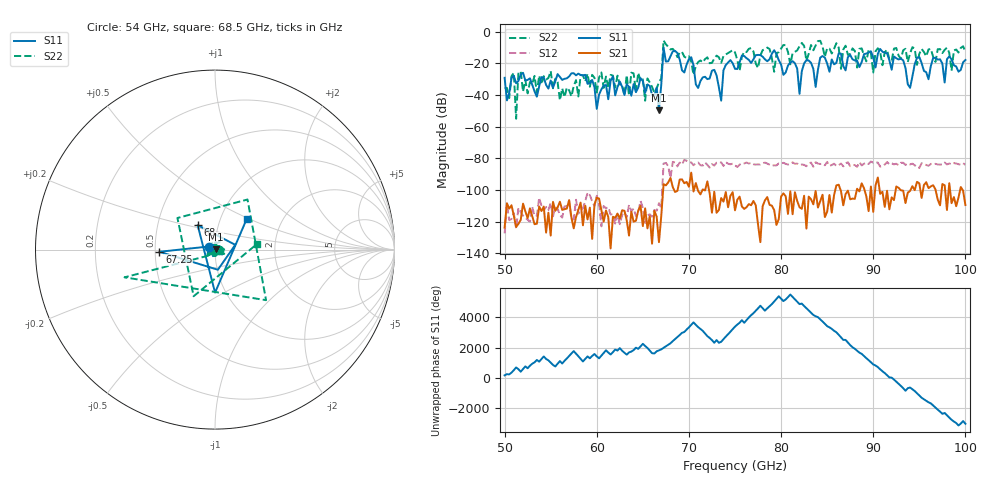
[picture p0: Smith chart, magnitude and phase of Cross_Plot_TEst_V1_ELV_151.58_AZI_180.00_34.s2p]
! 11/25/2026 1:31:15 PM
! C:\ANRITSUVNA\TEMP\TEMP.S2P
! CHANNEL.1
! TR.MEASUREMENT
! RAW.DATA
# HZ S RI R 50.0
! FREQ.HZ  S11RE  S11IM  S21RE  S21IM  S12RE  S12IM  S22RE  S22IM
!; PortSelection: Port_12
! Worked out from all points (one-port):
!   201 points, 50 GHz to 100 GHz, reference 50 ohm
!   lowest |S11| = -49.7 dB at 66.75 GHz (marker M1), VSWR 1.01, Z = 50.3 + j0.0729 ohm
!   |S11| at or under -10 dB: start of sweep to end of sweep
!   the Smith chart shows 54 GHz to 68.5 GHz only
!   S11 on the Smith chart (normalised r, x): 54 GHz: 0.93, +0.03; 67.25 GHz: 0.53, -0.01; 68 GHz: 0.80, +0.22; 68.5 GHz: 1.33, +0.49
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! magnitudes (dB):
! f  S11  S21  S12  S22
! 50 GHz  -29.1  -123.9  -127.4  -35.6
! 51 GHz  -27.9  -116.3  -114.7  -26.0
! 51.25 GHz  -32.6  -123.5  -124.3  -55.1
! 51.5 GHz  -31.2  -121.4  -111.3  -25.7
! 54 GHz  -28.7  -113.4  -110.0  -33.3
! 58.5 GHz  -27.7  -122.4  -111.6  -27.6
! 60 GHz  -48.8  -104.9  -103.7  -38.5
! 61.75 GHz  -28.4  -117.0  -115.3  -27.7
! 66.75 GHz  -49.7  -133.0  -108.4  -31.9
! 67.25 GHz  -10.2  -96.4  -83.4  -5.6
! 68 GHz  -15.5  -92.4  -92.4  -11.3
! 68.5 GHz  -12.1  -101.3  -82.6  -12.6
! 73.5 GHz  -43.6  -105.2  -82.7  -19.7
! 73.75 GHz  -24.4  -107.4  -84.9  -15.4
! 75 GHz  -23.5  -112.9  -84.5  -13.0
! 79.25 GHz  -11.8  -112.7  -84.5  -25.4
! 82 GHz  -39.3  -111.0  -84.3  -9.2
! 83.5 GHz  -23.5  -109.1  -85.4  -11.8
! 91.75 GHz  -18.1  -112.3  -83.8  -17.6
! 94 GHz  -35.5  -100.7  -83.9  -13.7
! 94.75 GHz  -16.5  -94.9  -85.8  -21.0
! 100 GHz  -17.9  -109.6  -84.1  -12.8
